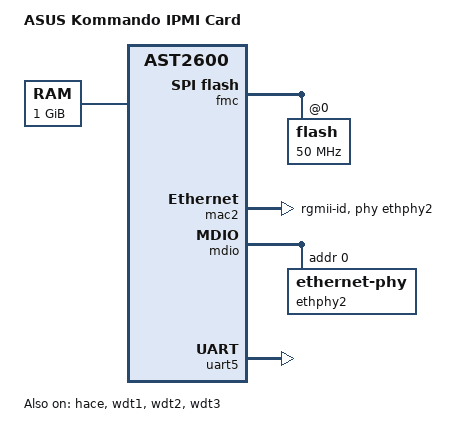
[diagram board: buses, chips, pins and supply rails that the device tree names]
// SPDX-License-Identifier: GPL-2.0+
/dts-v1/;

#include "ast2600-u-boot.dtsi"

/ {
	model = "ASUS Kommando IPMI Card";
	compatible = "asus,kommando-ipmi-card", "aspeed,ast2600";

	memory {
		device_type = "memory";
		reg = <0x80000000 0x40000000>;
	};

	chosen {
		stdout-path = &uart5;
	};

	aliases {
		spi0 = &fmc;
		eth0 = &mac2;
	};

	cpus {
		cpu@0 {
			clock-frequency = <800000000>;
		};
		cpu@1 {
			clock-frequency = <800000000>;
		};
	};
};

&fmc {
	status = "okay";

	pinctrl-names = "default";
	pinctrl-0 = <&pinctrl_fmcquad_default>;

	flash@0 {
		status = "okay";
		spi-max-frequency = <50000000>;
		spi-tx-bus-width = <4>;
		spi-rx-bus-width = <4>;
	};
};

&hace {
	status = "okay";
	u-boot,dm-pre-reloc;
};

&mac2 {
	status = "okay";
	phy-mode = "rgmii-id";
	phy-handle = <&ethphy2>;
	pinctrl-names = "default";
	pinctrl-0 = <&pinctrl_rgmii3_default>;
};

&mdio {
	status = "okay";
	pinctrl-names = "default";
	pinctrl-0 = <&pinctrl_mdio3_default>;
	#address-cells = <1>;
	#size-cells = <0>;

	ethphy2: ethernet-phy@2 {
		reg = <0>;
	};
};

&sdrammc {
	clock-frequency = <400000000>;
};

&uart5 {
	status = "okay";
	u-boot,dm-pre-reloc;
};

&wdt1 {
	status = "okay";
};

&wdt2 {
	status = "okay";
};

&wdt3 {
	status = "okay";
};
